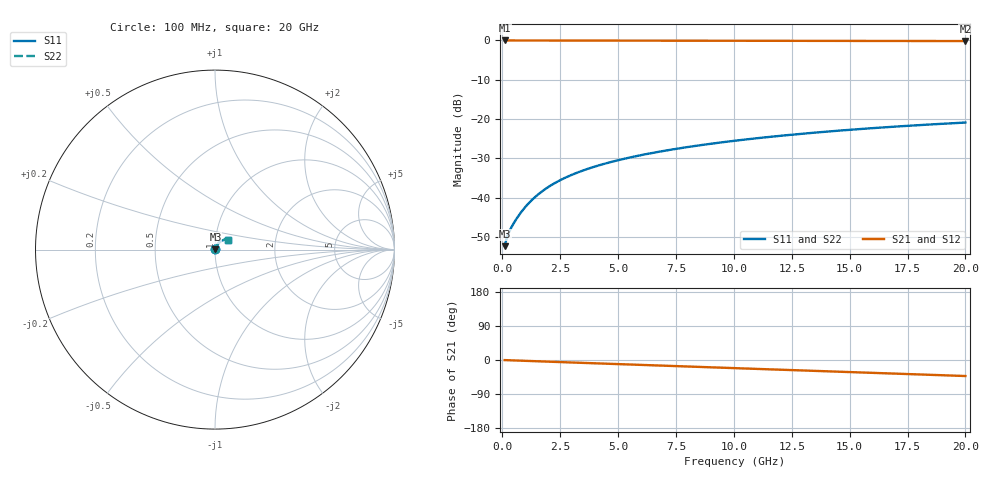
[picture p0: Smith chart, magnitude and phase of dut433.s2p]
! Touchstone file exported from HFSS 2026.1.0
!  File:  C:/ffzhzh/LocalFiles/Ansys_Project_Files/temp_train_BSMRDL_433_1783012949_51716.aedt
!  Generated:  01:23:48 AM Jul  3, 2026
!  Design:  BSMRDL
!  Project:  temp_train_BSMRDL_433_1783012949_51716
! Variables:
!  h_bsmrdl = 5.45um
!  h_ox = 20um
!  h_rdl = 5um
!  h_sub = 80um
!  h_tmrdl = 5um
!  h_tsv = 80um
!  h_via = 3um
!  l_bsmrdl = 747.57um
!  l_sub = 1147.57um
!  l_tmrdl = 200um
!  m_sub = 200um
!  pitch = 34.97um
!  r_tsv = 6um
!  s_tmrdl = 10um
!  w_bsmrdl = 26.71um
!  w_sub = 500um
!  w_tmrdl = 12um
!  x_tsv_center1 = 206um
!  x_tsv_center2 = 980.28um
!  x_tsv_center3 = 1192.28um
!  x_tsv_center4 = 1966.56um
!  x_tsv_center5 = 2178.56um
!  x_tsv_center6 = 2952.84um
# GHz S MA R 50.000000
! Terminal data exported
! Port[1] = BSM_RDL1_1_T1
! Port[2] = BSM_RDL1_1_T2
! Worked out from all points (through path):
!   200 points, 100 MHz to 20 GHz, reference 50 ohm
!   highest |S21| = -0.02 dB at 100 MHz (marker M1); lowest = -0.2 dB at 20 GHz (marker M2)
!   group delay of S21, straight-line fit = 5.85 ps
!   lowest |S11| = -52.4 dB at 100 MHz (marker M3), VSWR 1.00, Z = 50.2 + j0.111 ohm
!   |S11| at or under -10 dB: start of sweep to end of sweep
!   |S22| runs from -52.4 to -20.9 dB; largest |S21 - S12| = 4.4e-15
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0.1  0.002412 27.2  0.9979 -0.2  0.9979 -0.2  0.002412 27.2
! Gamma 0 0 0 0
! Port Impedance 50 0 50 0
0.2  0.003116 36.9  0.9975 -0.5  0.9975 -0.5  0.003116 36.9
0.3  0.003693 42.3  0.9973 -0.7  0.9973 -0.7  0.003693 42.3
0.5  0.004753 50.6  0.9971 -1.1  0.9971 -1.1  0.004753 50.6
0.7  0.005864 56.6  0.9969 -1.6  0.9969 -1.6  0.005864 56.6
0.9  0.007035 60.6  0.9967 -2.0  0.9967 -2.0  0.007035 60.6
1.1  0.008242 63.2  0.9966 -2.5  0.9966 -2.5  0.008242 63.2
1.3  0.009464 65.0  0.9964 -2.9  0.9964 -2.9  0.009464 65.0
1.7  0.01191 66.9  0.996 -3.8  0.996 -3.8  0.01191 66.9
2.2  0.0149 67.6  0.9954 -4.9  0.9954 -4.9  0.01491 67.6
2.8  0.01836 67.5  0.9947 -6.2  0.9947 -6.2  0.01837 67.5
3.5  0.02221 66.7  0.9938 -7.7  0.9938 -7.7  0.02221 66.7
4.2  0.02588 65.8  0.9929 -9.2  0.9929 -9.2  0.02588 65.8
5  0.0299 64.6  0.9921 -10.9  0.9921 -10.9  0.0299 64.6
5.9  0.03426 63.3  0.9911 -12.8  0.9911 -12.8  0.03426 63.2
6.8  0.03848 61.9  0.9903 -14.7  0.9903 -14.7  0.03849 61.9
8.3  0.0453 59.5  0.9889 -17.8  0.9889 -17.8  0.04531 59.5
10.1  0.05316 56.5  0.9875 -21.6  0.9875 -21.6  0.05318 56.5
11.7  0.05987 53.7  0.9862 -25.0  0.9862 -25.0  0.05989 53.7
13.4  0.06671 50.7  0.985 -28.5  0.985 -28.5  0.06674 50.7
16.7  0.07908 44.7  0.9826 -35.4  0.9826 -35.4  0.07912 44.6
20  0.09012 38.6  0.9804 -42.3  0.9804 -42.3  0.09018 38.4
